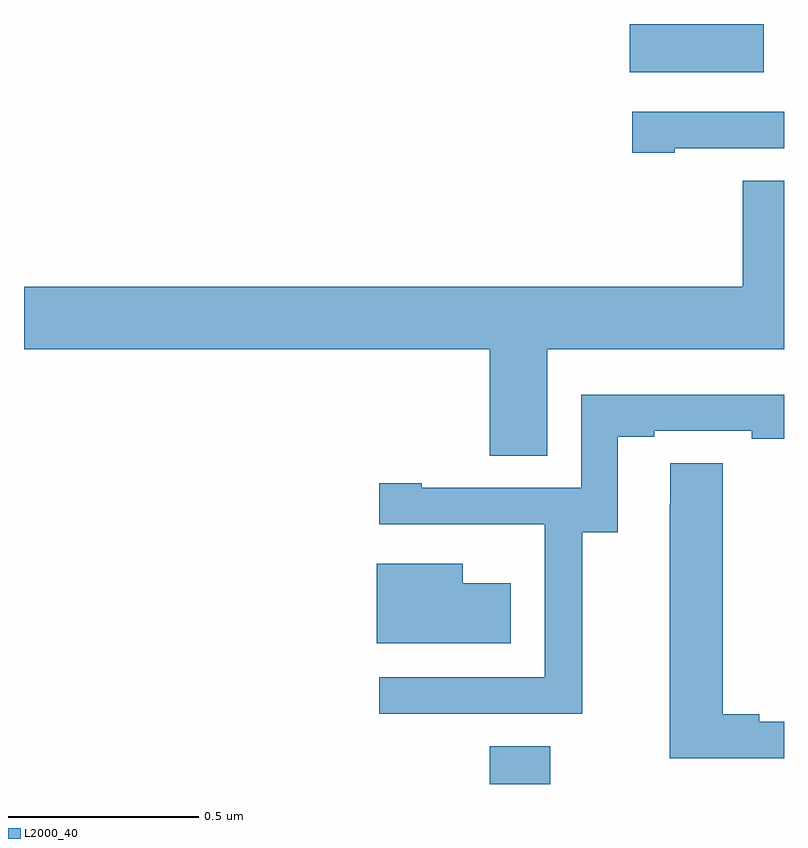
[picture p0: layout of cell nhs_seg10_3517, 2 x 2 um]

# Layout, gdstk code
import gdstk
lib = gdstk.Library(unit=1e-6, precision=1e-09)
def R(c, l, rs):  # rectangles x0, y0, x1, y1
    for r in rs: c.add(gdstk.rectangle(r[:2], r[2:], *l))
def P(c, l, *ps):  # polygons
    for p in ps: c.add(gdstk.Polygon(p, *l))
L2000_40 = (2000, 40)

nhs_seg10_3517 = lib.new_cell('nhs_seg10_3517')
R(nhs_seg10_3517, L2000_40, [(155.225,1304.5,155.385,1304.6), (155.594,1306.373,155.947,1306.5)])
P(nhs_seg10_3517, L2000_40, [(155.713,1306.173),(156,1306.173),(156,1306.269),(155.601,1306.269),(155.601,1306.161),(155.713,1306.161)],
  [(155.377,1305.644),(156,1305.644),(156,1306.088),(155.891,1306.088),(155.891,1305.808),(154,1305.808),(154,1305.644),(155.225,1305.644),(155.225,1305.364),(155.377,1305.364)],
  [(155.469,1305.163),(155.563,1305.163),(155.563,1305.414),(155.659,1305.414),(155.659,1305.429),(155.915,1305.429),(155.915,1305.409),(156,1305.409),(156,1305.525),(155.466,1305.525),(155.466,1305.279),(155.047,1305.279),(155.047,1305.292),(154.935,1305.292),(154.935,1305.183),(155.369,1305.183),(155.369,1305.182),(155.37,1305.182),(155.37,1304.781),(154.935,1304.781),(154.935,1304.685),(155.469,1304.685)],
  [(156,1304.664),(155.935,1304.664),(155.935,1304.684),(155.839,1304.684),(155.839,1305.344),(155.7,1305.344),(155.7,1305.236),(155.699,1305.236),(155.699,1304.568),(156,1304.568)],
  [(155.281,1305.028),(155.155,1305.028),(155.155,1305.079),(154.928,1305.079),(154.928,1304.87),(155.281,1304.87)])

lib.write_gds('nhs_seg10_3517.gds')
